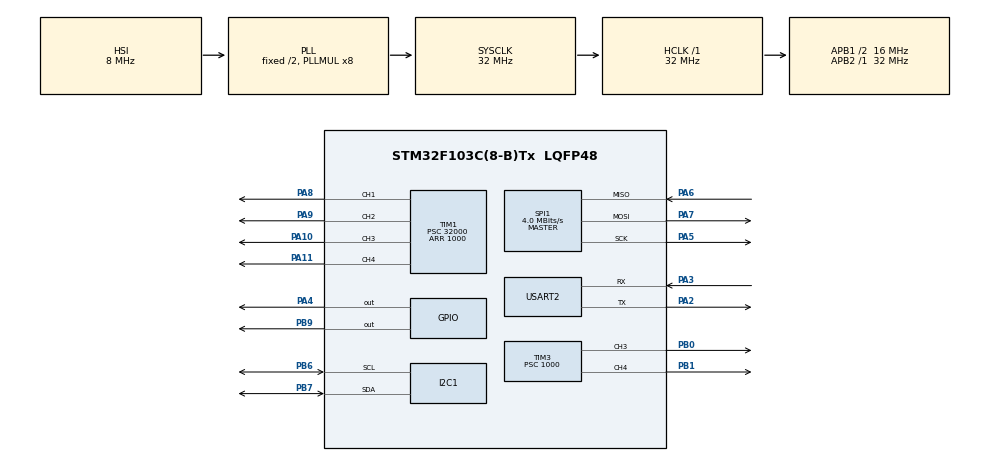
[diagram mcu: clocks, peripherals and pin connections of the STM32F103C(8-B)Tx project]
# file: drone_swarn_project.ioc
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I2C1.DutyCycle=I2C_DUTYCYCLE_16_9
I2C1.I2C_Mode=I2C_Fast
I2C1.OwnAddress=0
Mcu.Family=STM32F1
Mcu.Name=STM32F103C(8-B)Tx
Mcu.Package=LQFP48
NVIC.PriorityGroup=NVIC_PRIORITYGROUP_4
NVIC.TIM2_IRQn=true\:0\:0\:false\:false\:true\:true\:true\:true
PA10.GPIO_ModeDefaultPP=GPIO_MODE_AF_PP
PA10.GPIO_Speed=GPIO_SPEED_FREQ_LOW
PA10.Signal=S_TIM1_CH3
PA11.GPIO_ModeDefaultPP=GPIO_MODE_AF_PP
PA11.GPIO_Speed=GPIO_SPEED_FREQ_LOW
PA11.Signal=S_TIM1_CH4
PA2.Mode=Asynchronous
PA2.Signal=USART2_TX
PA3.Mode=Asynchronous
PA3.Signal=USART2_RX
PA4.GPIO_PuPd=GPIO_NOPULL
PA4.GPIO_Speed=GPIO_SPEED_FREQ_LOW
PA4.PinState=GPIO_PIN_RESET
PA4.Signal=GPIO_Output
PA5.Mode=Full_Duplex_Master
PA5.Signal=SPI1_SCK
PA6.Mode=Full_Duplex_Master
PA6.Signal=SPI1_MISO
PA7.Mode=Full_Duplex_Master
PA7.Signal=SPI1_MOSI
PA8.GPIO_ModeDefaultPP=GPIO_MODE_AF_PP
PA8.GPIO_Speed=GPIO_SPEED_FREQ_LOW
PA8.Signal=S_TIM1_CH1
PA9.GPIO_ModeDefaultPP=GPIO_MODE_AF_PP
PA9.GPIO_Speed=GPIO_SPEED_FREQ_LOW
PA9.Signal=S_TIM1_CH2
PB0.Signal=S_TIM3_CH3
PB1.Signal=S_TIM3_CH4
PB6.Mode=I2C
PB6.Signal=I2C1_SCL
PB7.Mode=I2C
PB7.Signal=I2C1_SDA
PB9.GPIO_PuPd=GPIO_NOPULL
PB9.GPIO_Speed=GPIO_SPEED_FREQ_HIGH
PB9.PinState=GPIO_PIN_SET
PB9.Signal=GPIO_Output
ProjectManager.HeapSize=0x200
ProjectManager.StackSize=0x400
ProjectManager.TargetToolchain=STM32CubeIDE
RCC.AHBFreq_Value=32000000
RCC.APB1CLKDivider=RCC_HCLK_DIV2
RCC.APB1Freq_Value=16000000
RCC.APB1TimFreq_Value=32000000
RCC.APB2Freq_Value=32000000
RCC.APB2TimFreq_Value=32000000
RCC.HCLKFreq_Value=32000000
RCC.PLLMUL=RCC_PLL_MUL8
RCC.SYSCLKFreq_VALUE=32000000
RCC.SYSCLKSource=RCC_SYSCLKSOURCE_PLLCLK
RCC.USBFreq_Value=32000000
SH.S_TIM1_CH1.0=TIM1_CH1,PWM Generation1 CH1
SH.S_TIM1_CH2.0=TIM1_CH2,PWM Generation2 CH2
SH.S_TIM1_CH3.0=TIM1_CH3,PWM Generation3 CH3
SH.S_TIM1_CH4.0=TIM1_CH4,PWM Generation4 CH4
SH.S_TIM3_CH3.0=TIM3_CH3,PWM Generation3 CH3
SH.S_TIM3_CH4.0=TIM3_CH4,PWM Generation4 CH4
SPI1.BaudRatePrescaler=SPI_BAUDRATEPRESCALER_8
SPI1.CalculateBaudRate=4.0 MBits/s
SPI1.Direction=SPI_DIRECTION_2LINES
SPI1.Mode=SPI_MODE_MASTER
SPI1.VirtualType=VM_MASTER
TIM1.Channel-PWM\ Generation1\ CH1=TIM_CHANNEL_1
TIM1.Channel-PWM\ Generation2\ CH2=TIM_CHANNEL_2
TIM1.Channel-PWM\ Generation3\ CH3=TIM_CHANNEL_3
TIM1.Channel-PWM\ Generation4\ CH4=TIM_CHANNEL_4
TIM1.Period=1000
TIM1.Prescaler=32000
TIM1.Pulse-PWM\ Generation2\ CH2=6400
TIM2.Channel-Output\ Compare1\ No\ Output=TIM_CHANNEL_1
TIM2.Prescaler=3200
TIM3.Channel-PWM\ Generation3\ CH3=TIM_CHANNEL_3
TIM3.Channel-PWM\ Generation4\ CH4=TIM_CHANNEL_4
TIM3.Period=32000
TIM3.Prescaler=1000
TIM3.Pulse-PWM\ Generation3\ CH3=16000
USART2.VirtualMode=VM_ASYNC
VP_TIM2_VS_no_output1.Mode=Output Compare1 No Output
board=custom

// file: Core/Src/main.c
/* USER CODE BEGIN Header */
/**
  ******************************************************************************
  * @file           : main.c
  * @brief          : Main program body
  ******************************************************************************
  * @attention
  *
  * Copyright (c) 2023 STMicroelectronics.
  * All rights reserved.
  *
  * This software is licensed under terms that can be found in the LICENSE file
  * in the root directory of this software component.
  * If no LICENSE file comes with this software, it is provided AS-IS.
  *
  ******************************************************************************
  */
/* USER CODE END Header */
#include "main.h"

/* USER CODE BEGIN Includes */
#include <stdint.h>
#include <stdio.h>
#include "mpu6050_driver.h"
#include "lora.h"
#include "pid.h"
#include "RC_Filters.h"
/* USER CODE END Includes */

/* USER CODE BEGIN PTD */
typedef struct {

	int16_t Roll ;
	int16_t Pitch ;
	uint16_t Throtle ;
	int16_t Yaw ;

}transmitter_chanels_t ;

/* USER CODE END PTD */

/* USER CODE BEGIN PD */
#define MAX_ALLOWED_THROTTLE_INPUT 800 // leave 20% margin for all channels for pid corretions
#define MIN_ALLOWED_THROTTLE_INPUT 504
#define MAX_ALLOWED_YAW_INPUT      94
#define MAX_ALLOWED_PITCH_INPUT    94
#define MAX_ALLOWED_ROLL_INPUT     94

#define MIN_ALLOWED_YAW_INPUT     -94
#define MIN_ALLOWED_PITCH_INPUT   -94
#define MIN_ALLOWED_ROLL_INPUT    -94

#define PID_OUT_CONVERTER 0.517f

/* USER CODE END PD */

I2C_HandleTypeDef hi2c1;

SPI_HandleTypeDef hspi1;

TIM_HandleTypeDef htim1;
TIM_HandleTypeDef htim2;
TIM_HandleTypeDef htim3;

UART_HandleTypeDef huart2;

/* USER CODE BEGIN PV */
MPU_Accl_Val_t Accl_Data ;
MPU_Gyro_Val_t Gyro_Data ;
MPU_Gyro_calib_t Gyro_Calib;

// lora related varaibles
lora_pins_t lora_pins;		// Structure variable for lora pins
lora_t lora;				// Structure variable for lora
uint8_t ret = 0  ;			// captures the return value from the functions in lora lib
uint8_t buff [15] = {0} ; //buffer to accumulate all the data

// raw transmitter received values
transmitter_chanels_t recived_channels = {0} ;
// value of transmitter to use
int16_t Throttle = 0 ;
int16_t Pitch    = 0 ;
int16_t Yaw      = 0 ;
int16_t Roll     = 0 ;

// pid structs
pidController_t yaw_pidController = {0};
pidController_t pitch_pidController = {0};
pidController_t roll_pidController = {0};

// filter variables
filter_t lowpass = {0} ;
// calculated motor output varaibles
uint16_t m1_out = 0 ;
uint16_t m2_out = 0 ;
uint16_t m3_out = 0 ;
uint16_t m4_out = 0 ;

// isArmed variable
uint8_t isArmed  = 0 ;

/* USER CODE END PV */

void SystemClock_Config(void);
static void MX_GPIO_Init(void);
static void MX_I2C1_Init(void);
static void MX_USART2_UART_Init(void);
static void MX_TIM1_Init(void);
static void MX_TIM3_Init(void);
static void MX_TIM2_Init(void);
static void MX_SPI1_Init(void);
/* USER CODE BEGIN PFP */
void fc_powerup();
void config_wireless();
void rcv_channel();
void config_motors() ;
void config_gyro() ;
void wait_for_pair() ;
void limit_radio_inputs() ;
void load_pid() ;
void wait_for_arming() ;
/* USER CODE END PFP */

int main(void)
{

  /* MCU Configuration--------------------------------------------------------*/

  /* Reset of all peripherals, Initializes the Flash interface and the Systick. */
  HAL_Init();

  /* Configure the system clock */
  SystemClock_Config();

  /* USER CODE BEGIN SysInit */
  HAL_Init();
  /* USER CODE END SysInit */

  /* Initialize all configured peripherals */
  MX_GPIO_Init();
  MX_I2C1_Init();
  MX_USART2_UART_Init();
  MX_TIM1_Init();
  MX_TIM3_Init();
  MX_TIM2_Init();
  MX_SPI1_Init();
  /* USER CODE BEGIN 2 */

 fc_powerup(); 					// some loed blinking indication to see if the board boots or not
 config_gyro(); 				// configure the gyroscope
 config_motors(); 				// timer pwm settings for mototrs
 config_wireless();				// configure wireless lora module
 wait_for_pair();				// wait while the trasmitter is getting paired
 pid_init(&roll_pidController);	// pid init function call for roll pitch and yaw
 pid_init(&yaw_pidController);
 pid_init(&pitch_pidController);
 // here we are having 50hz cutoff freq and 0.002 sec of sampling time i.e 2ms
 filter_init(&lowpass, 1000, 0.0025 ) ; // loaw pass filter init function call
 load_pid() ;         					// pid setting for p,i,d gains and other limits

  /* USER CODE END 2 */

  /* Infinite loop */
  /* USER CODE BEGIN WHILE */
  while (1)
  {
	  rcv_channel();								// start receiving data from radio transitter
	  get_gyro(&hi2c1, &Gyro_Data, &Gyro_Calib) ;	// get the gyro data yaw ,pitch , roll
	  // low pass all the gyro data
	  Gyro_Data.pitch =  filter_update(&lowpass, Gyro_Data.pitch ) ; // low pass filter all gyro signals
	  Gyro_Data.yaw =  filter_update(&lowpass, Gyro_Data.yaw) ;
	  Gyro_Data.roll =  filter_update(&lowpass, Gyro_Data.roll) ;

	  limit_radio_inputs() ;	// apply limits for radio input

	 // wait for arming
	  wait_for_arming() ;

	  m1_out = (recived_channels.Throtle - roll_pidController.out - pitch_pidController.out - yaw_pidController.out )*PID_OUT_CONVERTER;
	  m2_out = (recived_channels.Throtle - roll_pidController.out + pitch_pidController.out + yaw_pidController.out )*PID_OUT_CONVERTER;
	  m3_out = (recived_channels.Throtle + roll_pidController.out + pitch_pidController.out - yaw_pidController.out )*PID_OUT_CONVERTER;
	  m4_out = (recived_channels.Throtle + roll_pidController.out - pitch_pidController.out + yaw_pidController.out )*PID_OUT_CONVERTER;

	  // TIM channel 3 is m3
	  // TIM channel 4 is m2
	  // TIm channel 2 is m1
	  // TIm channel 1 is m4
	  if (isArmed  == 1 ) {
	  __HAL_TIM_SET_COMPARE(&htim1 ,TIM_CHANNEL_2, m1_out) ;
	  __HAL_TIM_SET_COMPARE(&htim1 ,TIM_CHANNEL_4, m2_out) ;
	  __HAL_TIM_SET_COMPARE(&htim1 ,TIM_CHANNEL_3, m3_out) ;
	  __HAL_TIM_SET_COMPARE(&htim1 ,TIM_CHANNEL_1, m4_out) ;

	}

    /* USER CODE END WHILE */

  }
}

void SystemClock_Config(void)
{
  RCC_OscInitTypeDef RCC_OscInitStruct = {0};
  RCC_ClkInitTypeDef RCC_ClkInitStruct = {0};

  /** Initializes the RCC Oscillators according to the specified parameters
  * in the RCC_OscInitTypeDef structure.
  */
  RCC_OscInitStruct.OscillatorType = RCC_OSCILLATORTYPE_HSI;
  RCC_OscInitStruct.HSIState = RCC_HSI_ON;
  RCC_OscInitStruct.HSICalibrationValue = RCC_HSICALIBRATION_DEFAULT;
  RCC_OscInitStruct.PLL.PLLState = RCC_PLL_ON;
  RCC_OscInitStruct.PLL.PLLSource = RCC_PLLSOURCE_HSI_DIV2;
  RCC_OscInitStruct.PLL.PLLMUL = RCC_PLL_MUL8;
  if (HAL_RCC_OscConfig(&RCC_OscInitStruct) != HAL_OK)
  {
    Error_Handler();
  }

  /** Initializes the CPU, AHB and APB buses clocks
  */
  RCC_ClkInitStruct.ClockType = RCC_CLOCKTYPE_HCLK|RCC_CLOCKTYPE_SYSCLK
                              |RCC_CLOCKTYPE_PCLK1|RCC_CLOCKTYPE_PCLK2;
  RCC_ClkInitStruct.SYSCLKSource = RCC_SYSCLKSOURCE_PLLCLK;
  RCC_ClkInitStruct.AHBCLKDivider = RCC_SYSCLK_DIV1;
  RCC_ClkInitStruct.APB1CLKDivider = RCC_HCLK_DIV2;
  RCC_ClkInitStruct.APB2CLKDivider = RCC_HCLK_DIV1;

  if (HAL_RCC_ClockConfig(&RCC_ClkInitStruct, FLASH_LATENCY_1) != HAL_OK)
  {
    Error_Handler();
  }
}

static void MX_I2C1_Init(void)
{

  hi2c1.Instance = I2C1;
  hi2c1.Init.ClockSpeed = 400000;
  hi2c1.Init.DutyCycle = I2C_DUTYCYCLE_16_9;
  hi2c1.Init.OwnAddress1 = 0;
  hi2c1.Init.AddressingMode = I2C_ADDRESSINGMODE_7BIT;
  hi2c1.Init.DualAddressMode = I2C_DUALADDRESS_DISABLE;
  hi2c1.Init.OwnAddress2 = 0;
  hi2c1.Init.GeneralCallMode = I2C_GENERALCALL_DISABLE;
  hi2c1.Init.NoStretchMode = I2C_NOSTRETCH_DISABLE;
  if (HAL_I2C_Init(&hi2c1) != HAL_OK)
  {
    Error_Handler();
  }

}

static void MX_SPI1_Init(void)
{

  /* SPI1 parameter configuration*/
  hspi1.Instance = SPI1;
  hspi1.Init.Mode = SPI_MODE_MASTER;
  hspi1.Init.Direction = SPI_DIRECTION_2LINES;
  hspi1.Init.DataSize = SPI_DATASIZE_8BIT;
  hspi1.Init.CLKPolarity = SPI_POLARITY_LOW;
  hspi1.Init.CLKPhase = SPI_PHASE_1EDGE;
  hspi1.Init.NSS = SPI_NSS_SOFT;
  hspi1.Init.BaudRatePrescaler = SPI_BAUDRATEPRESCALER_8;
  hspi1.Init.FirstBit = SPI_FIRSTBIT_MSB;
  hspi1.Init.TIMode = SPI_TIMODE_DISABLE;
  hspi1.Init.CRCCalculation = SPI_CRCCALCULATION_DISABLE;
  hspi1.Init.CRCPolynomial = 10;
  if (HAL_SPI_Init(&hspi1) != HAL_OK)
  {
    Error_Handler();
  }

}

static void MX_TIM1_Init(void)
{

  TIM_MasterConfigTypeDef sMasterConfig = {0};
  TIM_OC_InitTypeDef sConfigOC = {0};
  TIM_BreakDeadTimeConfigTypeDef sBreakDeadTimeConfig = {0};

  htim1.Instance = TIM1;
  htim1.Init.Prescaler = 32000;
  htim1.Init.CounterMode = TIM_COUNTERMODE_UP;
  htim1.Init.Period = 1000;
  htim1.Init.ClockDivision = TIM_CLOCKDIVISION_DIV1;
  htim1.Init.RepetitionCounter = 0;
  htim1.Init.AutoReloadPreload = TIM_AUTORELOAD_PRELOAD_DISABLE;
  if (HAL_TIM_PWM_Init(&htim1) != HAL_OK)
  {
    Error_Handler();
  }
  sMasterConfig.MasterOutputTrigger = TIM_TRGO_RESET;
  sMasterConfig.MasterSlaveMode = TIM_MASTERSLAVEMODE_DISABLE;
  if (HAL_TIMEx_MasterConfigSynchronization(&htim1, &sMasterConfig) != HAL_OK)
  {
    Error_Handler();
  }
  sConfigOC.OCMode = TIM_OCMODE_PWM1;
  sConfigOC.Pulse = 0;
  sConfigOC.OCPolarity = TIM_OCPOLARITY_HIGH;
  sConfigOC.OCNPolarity = TIM_OCNPOLARITY_HIGH;
  sConfigOC.OCFastMode = TIM_OCFAST_DISABLE;
  sConfigOC.OCIdleState = TIM_OCIDLESTATE_RESET;
  sConfigOC.OCNIdleState = TIM_OCNIDLESTATE_RESET;
  if (HAL_TIM_PWM_ConfigChannel(&htim1, &sConfigOC, TIM_CHANNEL_1) != HAL_OK)
  {
    Error_Handler();
  }
  sConfigOC.Pulse = 6400;
  if (HAL_TIM_PWM_ConfigChannel(&htim1, &sConfigOC, TIM_CHANNEL_2) != HAL_OK)
  {
    Error_Handler();
  }
  sConfigOC.Pulse = 0;
  if (HAL_TIM_PWM_ConfigChannel(&htim1, &sConfigOC, TIM_CHANNEL_3) != HAL_OK)
  {
    Error_Handler();
  }
  if (HAL_TIM_PWM_ConfigChannel(&htim1, &sConfigOC, TIM_CHANNEL_4) != HAL_OK)
  {
    Error_Handler();
  }
  sBreakDeadTimeConfig.OffStateRunMode = TIM_OSSR_DISABLE;
  sBreakDeadTimeConfig.OffStateIDLEMode = TIM_OSSI_DISABLE;
  sBreakDeadTimeConfig.LockLevel = TIM_LOCKLEVEL_OFF;
  sBreakDeadTimeConfig.DeadTime = 0;
  sBreakDeadTimeConfig.BreakState = TIM_BREAK_DISABLE;
  sBreakDeadTimeConfig.BreakPolarity = TIM_BREAKPOLARITY_HIGH;
  sBreakDeadTimeConfig.AutomaticOutput = TIM_AUTOMATICOUTPUT_DISABLE;
  if (HAL_TIMEx_ConfigBreakDeadTime(&htim1, &sBreakDeadTimeConfig) != HAL_OK)
  {
    Error_Handler();
  }
  HAL_TIM_MspPostInit(&htim1);

}

static void MX_TIM2_Init(void)
{

  TIM_MasterConfigTypeDef sMasterConfig = {0};
  TIM_OC_InitTypeDef sConfigOC = {0};

  htim2.Instance = TIM2;
  htim2.Init.Prescaler = 3200;
  htim2.Init.CounterMode = TIM_COUNTERMODE_UP;
  htim2.Init.Period = 65535;
  htim2.Init.ClockDivision = TIM_CLOCKDIVISION_DIV1;
  htim2.Init.AutoReloadPreload = TIM_AUTORELOAD_PRELOAD_DISABLE;
  if (HAL_TIM_OC_Init(&htim2) != HAL_OK)
  {
    Error_Handler();
  }
  sMasterConfig.MasterOutputTrigger = TIM_TRGO_RESET;
  sMasterConfig.MasterSlaveMode = TIM_MASTERSLAVEMODE_DISABLE;
  if (HAL_TIMEx_MasterConfigSynchronization(&htim2, &sMasterConfig) != HAL_OK)
  {
    Error_Handler();
  }
  sConfigOC.OCMode = TIM_OCMODE_TIMING;
  sConfigOC.Pulse = 0;
  sConfigOC.OCPolarity = TIM_OCPOLARITY_HIGH;
  sConfigOC.OCFastMode = TIM_OCFAST_DISABLE;
  if (HAL_TIM_OC_ConfigChannel(&htim2, &sConfigOC, TIM_CHANNEL_1) != HAL_OK)
  {
    Error_Handler();
  }

}

static void MX_TIM3_Init(void)
{

  TIM_MasterConfigTypeDef sMasterConfig = {0};
  TIM_OC_InitTypeDef sConfigOC = {0};

  htim3.Instance = TIM3;
  htim3.Init.Prescaler = 1000;
  htim3.Init.CounterMode = TIM_COUNTERMODE_UP;
  htim3.Init.Period = 32000;
  htim3.Init.ClockDivision = TIM_CLOCKDIVISION_DIV1;
  htim3.Init.AutoReloadPreload = TIM_AUTORELOAD_PRELOAD_DISABLE;
  if (HAL_TIM_PWM_Init(&htim3) != HAL_OK)
  {
    Error_Handler();
  }
  sMasterConfig.MasterOutputTrigger = TIM_TRGO_RESET;
  sMasterConfig.MasterSlaveMode = TIM_MASTERSLAVEMODE_DISABLE;
  if (HAL_TIMEx_MasterConfigSynchronization(&htim3, &sMasterConfig) != HAL_OK)
  {
    Error_Handler();
  }
  sConfigOC.OCMode = TIM_OCMODE_PWM1;
  sConfigOC.Pulse = 16000;
  sConfigOC.OCPolarity = TIM_OCPOLARITY_HIGH;
  sConfigOC.OCFastMode = TIM_OCFAST_DISABLE;
  if (HAL_TIM_PWM_ConfigChannel(&htim3, &sConfigOC, TIM_CHANNEL_3) != HAL_OK)
  {
    Error_Handler();
  }
  sConfigOC.Pulse = 0;
  if (HAL_TIM_PWM_ConfigChannel(&htim3, &sConfigOC, TIM_CHANNEL_4) != HAL_OK)
  {
    Error_Handler();
  }
  HAL_TIM_MspPostInit(&htim3);

}

static void MX_USART2_UART_Init(void)
{

  huart2.Instance = USART2;
  huart2.Init.BaudRate = 115200;
  huart2.Init.WordLength = UART_WORDLENGTH_8B;
  huart2.Init.StopBits = UART_STOPBITS_1;
  huart2.Init.Parity = UART_PARITY_NONE;
  huart2.Init.Mode = UART_MODE_TX_RX;
  huart2.Init.HwFlowCtl = UART_HWCONTROL_NONE;
  huart2.Init.OverSampling = UART_OVERSAMPLING_16;
  if (HAL_UART_Init(&huart2) != HAL_OK)
  {
    Error_Handler();
  }

}

static void MX_GPIO_Init(void)
{
  GPIO_InitTypeDef GPIO_InitStruct = {0};

  /* GPIO Ports Clock Enable */
  __HAL_RCC_GPIOA_CLK_ENABLE();
  __HAL_RCC_GPIOB_CLK_ENABLE();

  /*Configure GPIO pin Output Level */
  HAL_GPIO_WritePin(GPIOA, GPIO_PIN_4, GPIO_PIN_RESET);

  /*Configure GPIO pin Output Level */
  HAL_GPIO_WritePin(GPIOB, GPIO_PIN_9, GPIO_PIN_SET);

  /*Configure GPIO pin : PA4 */
  GPIO_InitStruct.Pin = GPIO_PIN_4;
  GPIO_InitStruct.Mode = GPIO_MODE_OUTPUT_PP;
  GPIO_InitStruct.Pull = GPIO_NOPULL;
  GPIO_InitStruct.Speed = GPIO_SPEED_FREQ_LOW;
  HAL_GPIO_Init(GPIOA, &GPIO_InitStruct);

  /*Configure GPIO pin : PB9 */
  GPIO_InitStruct.Pin = GPIO_PIN_9;
  GPIO_InitStruct.Mode = GPIO_MODE_OUTPUT_PP;
  GPIO_InitStruct.Pull = GPIO_NOPULL;
  GPIO_InitStruct.Speed = GPIO_SPEED_FREQ_HIGH;
  HAL_GPIO_Init(GPIOB, &GPIO_InitStruct);

/* USER CODE BEGIN MX_GPIO_Init_2 */
  GPIO_InitStruct.Pull = GPIO_PULLUP;
  HAL_GPIO_Init(GPIOB, &GPIO_InitStruct);

/* USER CODE END MX_GPIO_Init_2 */
}

/* USER CODE BEGIN 4 */
void  fc_powerup(){
// turn the white and red led ON for a bit
	__HAL_TIM_SET_COMPARE(&htim3 , TIM_CHANNEL_3 ,0);
	__HAL_TIM_SET_COMPARE(&htim3 , TIM_CHANNEL_4 ,0);
	HAL_TIM_PWM_Start(&htim3, TIM_CHANNEL_3) ;
	HAL_TIM_PWM_Start(&htim3, TIM_CHANNEL_4) ;
	HAL_Delay(1000) ;
	HAL_TIM_PWM_Stop(&htim3, TIM_CHANNEL_3) ;
	HAL_TIM_PWM_Stop(&htim3, TIM_CHANNEL_4) ;

	__HAL_TIM_SET_COMPARE(&htim3 , TIM_CHANNEL_3 ,32000);
	__HAL_TIM_SET_COMPARE(&htim3 , TIM_CHANNEL_4 ,32000);
	HAL_TIM_PWM_Start(&htim3, TIM_CHANNEL_3) ;
	HAL_TIM_PWM_Start(&htim3, TIM_CHANNEL_4) ;
	HAL_Delay(1000) ;
	HAL_Delay(1000) ;
	HAL_TIM_PWM_Stop(&htim3, TIM_CHANNEL_3) ;
	HAL_TIM_PWM_Stop(&htim3, TIM_CHANNEL_4) ;

}

void config_motors() {

   __HAL_TIM_SET_COMPARE(&htim1 ,TIM_CHANNEL_1,0) ;
   __HAL_TIM_SET_COMPARE(&htim1 ,TIM_CHANNEL_2,0) ;
   __HAL_TIM_SET_COMPARE(&htim1 ,TIM_CHANNEL_3,0) ;
   __HAL_TIM_SET_COMPARE(&htim1 ,TIM_CHANNEL_4,0) ;

   HAL_TIM_PWM_Start(&htim1, TIM_CHANNEL_1);
   HAL_TIM_PWM_Start(&htim1, TIM_CHANNEL_2);
   HAL_TIM_PWM_Start(&htim1, TIM_CHANNEL_3);
   HAL_TIM_PWM_Start(&htim1, TIM_CHANNEL_4);

   HAL_Delay(1000) ;
   HAL_Delay(1000) ;

}
void config_gyro() {
   Self_test_mpu6050(&hi2c1) ;
   Mpu6050_Init(&hi2c1) ;			//initalise gyroscope
   gyro_calibrate(&hi2c1,  &Gyro_Calib);

   get_gyro(&hi2c1, &Gyro_Data, &Gyro_Calib) ;
   get_Accl(&hi2c1, &Accl_Data) ;
//    take 200 readings from the imu
   for (uint8_t i = 0 ; i < 200 ; i++){
	     printf(" %0.2lf , %0.2lf , %0.2lf ,%0.2lf , %0.2lf , %0.2lf \r" , Gyro_Data.pitch , Gyro_Data.roll, Gyro_Data.yaw , Accl_Data.pitch , Accl_Data.roll, Accl_Data.yaw);
	     }

}
void wait_for_pair() {
uint8_t Key [4] = {0xAA ,0xBB , 0xCC ,0xDD };
uint8_t ret = 0 ;
uint8_t temp_buff [4] = {0} ;

while(1){

  ret = lora_prasePacket(&lora);
  if(ret){
	uint8_t i=0;
	while( i <  4){
	temp_buff[i] = lora_read(&lora);
	i++;
    }
	printf("%x  %x  %x  %x  \n" , temp_buff[0] , temp_buff[1] , temp_buff[2] , temp_buff[3]   ) ;
  }
  if (memcmp(Key , temp_buff , 4) == 0) {
	printf("key matched \n ") ;
	HAL_Delay(1000) ;
	HAL_Delay(1000) ;

  break ;
  }
  printf("looking for pair ") ;
 }

printf("done paring  \n") ;
HAL_Delay(1000) ;

}

void limit_radio_inputs() {

Throttle = recived_channels.Throtle - MIN_ALLOWED_THROTTLE_INPUT ;
	if (Throttle < MIN_ALLOWED_THROTTLE_INPUT) {
		Throttle = MIN_ALLOWED_THROTTLE_INPUT ;
	} else if(Throttle > MAX_ALLOWED_THROTTLE_INPUT){
		Throttle = MAX_ALLOWED_THROTTLE_INPUT ;
	}

	if (Pitch < MIN_ALLOWED_PITCH_INPUT) {
		Pitch = MIN_ALLOWED_PITCH_INPUT ;
	} else if(Pitch > MAX_ALLOWED_PITCH_INPUT){
		Pitch = MAX_ALLOWED_PITCH_INPUT ;
	}

	if (Yaw < MIN_ALLOWED_YAW_INPUT) {
		Yaw = MIN_ALLOWED_YAW_INPUT ;
	} else if(Throttle > MAX_ALLOWED_YAW_INPUT){
		Yaw = MAX_ALLOWED_YAW_INPUT ;
	}

	if (Roll < MIN_ALLOWED_ROLL_INPUT) {
		Roll = MIN_ALLOWED_ROLL_INPUT ;
	} else if(Pitch > MAX_ALLOWED_ROLL_INPUT){
		Roll = MAX_ALLOWED_ROLL_INPUT ;
	}

}

void wait_for_arming() {
	if (!isArmed) {

		if (((Pitch < -125 ) && (Pitch >= -128)) &&  ((Roll < -125 ) && (Roll >= -128)) && ((Yaw < -125 ) && (Yaw >= -128))) {
			HAL_TIM_PWM_Start(&htim3, TIM_CHANNEL_3) ;
			__HAL_TIM_SET_COMPARE(&htim3 , TIM_CHANNEL_3 ,16000);
			HAL_Delay(1000) ;
			HAL_Delay(1000) ;
			HAL_Delay(1000) ;
			isArmed = 1 ;
		}
	}
}

void config_wireless(){
	lora_pins.dio0.port  = LORA_DIO0_PORT;
	lora_pins.dio0.pin   = LORA_DIO0_PIN;
	lora_pins.nss.port   = LORA_SS_PORT;	// NSS pin to which port is connected
	lora_pins.nss.pin    = LORA_SS_PIN;		// NSS pin to which pin is connected
	lora_pins.reset.port = LORA_RESET_PORT;	// RESET pin to which port is connected
	lora_pins.reset.pin  = LORA_RESET_PIN;	// RESET pin to which pin is connected
	lora_pins.spi  			 = &hspi1;
	lora.pin = &lora_pins;
	lora.frequency = FREQ_433MHZ;	// 433MHZ Frequency

	while(lora_init(&lora)){										// Initialize the lora module
	printf("init Failed \n");
	HAL_Delay(1000);
	}
	printf("init success \n");

}

void load_pid() {
	 yaw_pidController.p_gain 				= 2  ;
	 yaw_pidController.i_gain               = 10 ;
	 yaw_pidController.d_gain               = 20 ;
	 yaw_pidController.filter_sampling_time = 0.004  ;
	 yaw_pidController.sampling_time        = 0.004 ;
	 yaw_pidController.limitMax             = 125   ;
	 yaw_pidController.limitMin             = -125  ;
	 yaw_pidController.limitMaxInt          = 150;
	 yaw_pidController.limitMinInt          = -150;

	 roll_pidController.p_gain 				 = 2;
	 roll_pidController.i_gain               = 0 ;
	 roll_pidController.d_gain               = 0 ;
	 roll_pidController.filter_sampling_time = 0.004  ;
	 roll_pidController.sampling_time        = 0.004 ;
	 roll_pidController.limitMax             =  125 ;
	 roll_pidController.limitMin             = -125 ;
	 roll_pidController.limitMaxInt          =  150 ;
	 roll_pidController.limitMinInt          = -150 ;

	 pitch_pidController.p_gain 			  = 2  ;
	 pitch_pidController.i_gain               = 0 ;
	 pitch_pidController.d_gain               = 0 ;
	 pitch_pidController.filter_sampling_time = 0.004  ;
	 pitch_pidController.sampling_time        = 0.004 ;
	 pitch_pidController.limitMax             =  125 ;
	 pitch_pidController.limitMin             = -125 ;
	 pitch_pidController.limitMaxInt          =  150;
	 pitch_pidController.limitMinInt          = -150;

}

void rcv_channel(){

	  ret = lora_prasePacket(&lora);
	  if(ret){
		uint8_t i=0;
		while( i <  sizeof(recived_channels)){
		buff[i] = lora_read(&lora);
		i++;
	     }
	  }

	recived_channels.Roll    = buff[1] << 8 | buff[0] ;
	recived_channels.Pitch   = buff[3] << 8 | buff[2] ;
	recived_channels.Throtle = buff[5] << 8 | buff[4] ;
	recived_channels.Yaw     = buff[7] << 8 | buff[6] ;

}

void HAL_TIM_PeriodElapsedCallback(TIM_HandleTypeDef *htim) {
	if (htim->Instance == TIM2 ) {

	  pid_update(&pitch_pidController,Pitch ,Gyro_Data.pitch ) ;
	  pid_update(&yaw_pidController  ,Yaw   ,Gyro_Data.yaw ) ;
	  pid_update(&roll_pidController ,Roll  ,Gyro_Data.roll ) ;

	}
}

void __io_putchar(int ch) {
//	ITM_SendChar(ch) ;
	HAL_UART_Transmit(&huart2, (uint8_t*)&ch, 1, HAL_MAX_DELAY);
}

/* USER CODE END 4 */

void Error_Handler(void)
{
  __disable_irq();
  while (1)
  {
  }
}
